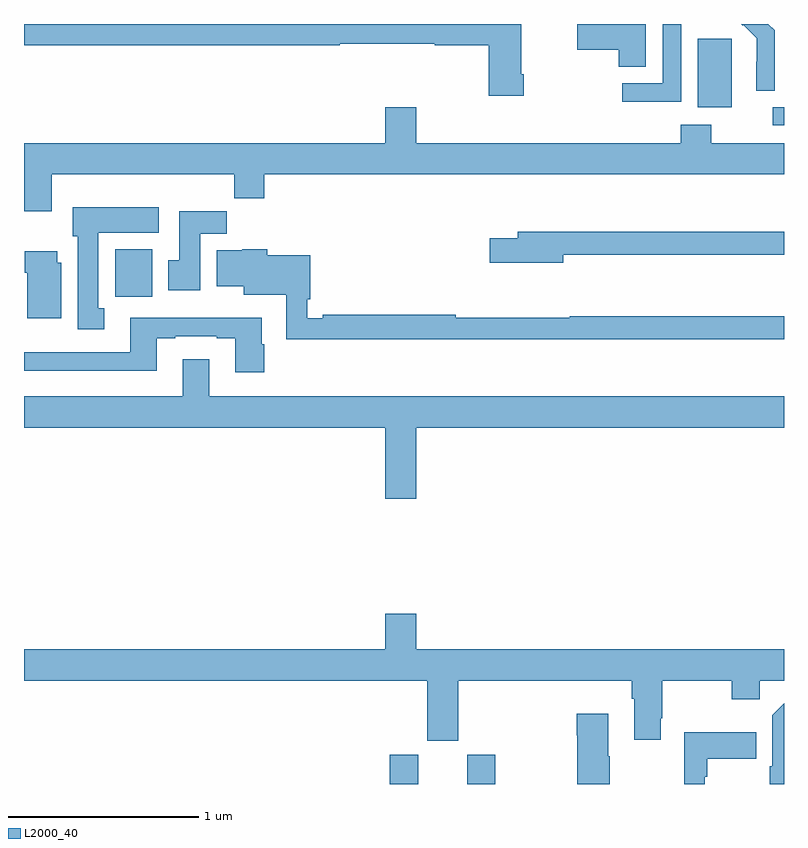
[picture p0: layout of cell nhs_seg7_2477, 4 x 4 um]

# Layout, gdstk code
import gdstk
lib = gdstk.Library(unit=1e-6, precision=1e-09)
def R(c, l, rs):  # rectangles x0, y0, x1, y1
    for r in rs: c.add(gdstk.rectangle(r[:2], r[2:], *l))
def P(c, l, *ps):  # polygons
    for p in ps: c.add(gdstk.Polygon(p, *l))
L2000_40 = (2000, 40)

nhs_seg7_2477 = lib.new_cell('nhs_seg7_2477')
R(nhs_seg7_2477, L2000_40, [(272.924,1072,273.076,1072.155), (273.332,1072,273.48,1072.155), (271.479,1074.564,271.675,1074.814), (274.941,1075.467,275,1075.563), (274.547,1075.562,274.726,1075.923)])
P(nhs_seg7_2477, L2000_40, [(274.95,1075.966),(274.916,1076),(274.774,1076),(274.782,1075.992),(274.785,1075.995),(274.856,1075.925),(274.856,1075.802),(274.854,1075.802),(274.854,1075.648),(274.95,1075.648)],
  [(274.458,1076),(274.362,1076),(274.362,1075.689),(274.149,1075.689),(274.149,1075.591),(274.458,1075.591)],
  [(274.273,1076),(273.912,1076),(273.912,1075.865),(274.13,1075.865),(274.13,1075.774),(274.273,1075.774)],
  [(273.629,1075.735),(273.616,1075.735),(273.616,1076),(271,1076),(271,1075.888),(272.662,1075.888),(272.662,1075.896),(273.162,1075.896),(273.162,1075.888),(273.446,1075.888),(273.446,1075.623),(273.629,1075.623)],
  [(271.147,1075.208),(272.107,1075.208),(272.107,1075.084),(272.264,1075.084),(272.264,1075.208),(275,1075.208),(275,1075.372),(274.617,1075.372),(274.617,1075.471),(274.457,1075.471),(274.457,1075.372),(273.064,1075.372),(273.064,1075.561),(272.9,1075.561),(272.9,1075.372),(271,1075.372),(271,1075.014),(271.147,1075.014)],
  [(271.423,1074.505),(271.39,1074.505),(271.39,1074.902),(271.708,1074.902),(271.708,1075.036),(271.256,1075.036),(271.256,1074.882),(271.283,1074.882),(271.283,1074.393),(271.423,1074.393)],
  [(271.927,1074.896),(272.066,1074.896),(272.066,1075.015),(271.817,1075.015),(271.817,1074.756),(271.76,1074.756),(271.76,1074.6),(271.927,1074.6)],
  [(273.838,1074.786),(275,1074.786),(275,1074.907),(273.599,1074.907),(273.599,1074.873),(273.45,1074.873),(273.45,1074.743),(273.838,1074.743)],
  [(275,1074.463),(273.872,1074.463),(273.872,1074.455),(273.272,1074.455),(273.272,1074.47),(272.572,1074.47),(272.572,1074.452),(272.491,1074.452),(272.491,1074.552),(272.506,1074.552),(272.506,1074.783),(272.279,1074.783),(272.279,1074.814),(272.148,1074.814),(272.148,1074.808),(272.015,1074.808),(272.015,1074.62),(272.156,1074.62),(272.156,1074.575),(272.379,1074.575),(272.379,1074.342),(275,1074.342)],
  [(271.195,1074.744),(271.174,1074.744),(271.174,1074.805),(271.004,1074.805),(271.004,1074.692),(271.016,1074.692),(271.016,1074.452),(271.195,1074.452)],
  [(272.264,1074.315),(272.251,1074.315),(272.251,1074.454),(271.559,1074.454),(271.559,1074.273),(271,1074.273),(271,1074.176),(271.699,1074.176),(271.699,1074.345),(271.795,1074.345),(271.795,1074.357),(272.015,1074.357),(272.015,1074.345),(272.111,1074.345),(272.111,1074.168),(272.264,1074.168)],
  [(273.064,1073.876),(275,1073.876),(275,1074.04),(271.975,1074.04),(271.975,1074.235),(271.835,1074.235),(271.835,1074.04),(271,1074.04),(271,1073.876),(272.9,1073.876),(272.9,1073.502),(273.064,1073.502)],
  [(273.286,1072.544),(274.199,1072.544),(274.199,1072.448),(274.211,1072.448),(274.211,1072.233),(274.351,1072.233),(274.351,1072.345),(274.359,1072.345),(274.359,1072.544),(274.726,1072.544),(274.726,1072.445),(274.872,1072.445),(274.872,1072.544),(275,1072.544),(275,1072.708),(273.064,1072.708),(273.064,1072.897),(272.9,1072.897),(272.9,1072.708),(271,1072.708),(271,1072.544),(273.122,1072.544),(273.122,1072.227),(273.286,1072.227)],
  [(275,1072.424),(274.938,1072.362),(274.938,1072.093),(274.926,1072.093),(274.926,1072),(275,1072)],
  [(274.083,1072.145),(274.075,1072.145),(274.075,1072.369),(273.908,1072.369),(273.908,1072.256),(273.913,1072.256),(273.913,1072),(274.083,1072)],
  [(274.584,1072.037),(274.597,1072.037),(274.597,1072.133),(274.853,1072.133),(274.853,1072.273),(274.476,1072.273),(274.476,1072),(274.584,1072)])

lib.write_gds('nhs_seg7_2477.gds')
